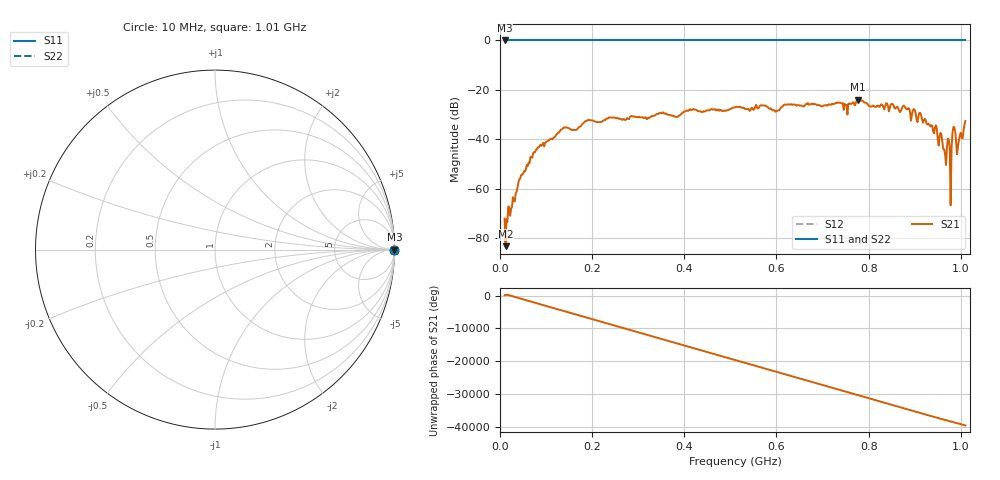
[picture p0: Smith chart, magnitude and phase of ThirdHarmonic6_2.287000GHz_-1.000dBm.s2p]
! 8/17/2025 3:00:38 AM
! C:\ANRITSUVNA\TEMP\TEMP.S2P
! CHANNEL.1
! TR.MEASUREMENT
! RAW.DATA
! RF.CORRECTION.OFF
! AVERAGING.OFF
! IF.BANDWIDTH: 5KHZ
! SWEEPTYPE:  FREQ.SWEEP(Linear)
! Reference Plane Port Info
! PORT:  PORT1  PORT2
! DISTANCE:  0  m  0  m
! TIME:  0  s  0  s
! PHASE.OFFSET:  0  deg.  0  deg.
! LOSS:  0  dB  0  dB
! REF.LOSS:  0  dB  0  dB
! REF.FREQ:  0  Hz  0  Hz
! Power Info
! POWER:  -20  dBm  -20  dBm
! EFF.POWER:  -20  dBm  -20  dBm
! SOURCE.ATTEN:  0  dB  0  dB
! TEST.ATTEN:  0  dB  0  dB
# GHZ S RI R 50.0
! FREQ.GHZ  S11RE  S11IM  S21RE  S21IM  S12RE  S12IM  S22RE  S22IM
!; PortSelection: Port_12
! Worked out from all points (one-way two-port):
!   501 points, 10 MHz to 1.01 GHz, reference 50 ohm
!   highest |S21| = -24.00 dB at 776 MHz (marker M1); lowest = -83.2 dB at 12 MHz (marker M2)
!   lowest |S11| = 0.0 dB at 10 MHz (marker M3)
!   |S11| at or under -10 dB: nowhere
!   |S22| runs from 0.0 to 0.0 dB; largest |S21 - S12| = 1.1
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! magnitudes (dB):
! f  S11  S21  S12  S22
! 10 MHz  0.0  -72.0  0.0  0.0
! 12 MHz  0.0  -83.2  0.0  0.0
! 44 MHz  0.0  -55.8  0.0  0.0
! 76 MHz  0.0  -45.2  0.0  0.0
! 136 MHz  0.0  -35.7  0.0  0.0
! 178 MHz  0.0  -33.9  0.0  0.0
! 344 MHz  0.0  -29.7  0.0  0.0
! 510 MHz  0.0  -27.1  0.0  0.0
! 678 MHz  0.0  -25.6  0.0  0.0
! 750 MHz  0.0  -26.1  0.0  0.0
! 776 MHz  0.0  -24.0  0.0  0.0
! 844 MHz  0.0  -28.7  0.0  0.0
! 912 MHz  0.0  -29.3  0.0  0.0
! 944 MHz  0.0  -35.1  0.0  0.0
! 958 MHz  0.0  -38.1  0.0  0.0
! 964 MHz  0.0  -44.1  0.0  0.0
! 972 MHz  0.0  -39.7  0.0  0.0
! 976 MHz  0.0  -43.5  0.0  0.0
! 982 MHz  0.0  -37.4  0.0  0.0
! 984 MHz  0.0  -34.9  0.0  0.0
! 994 MHz  0.0  -42.7  0.0  0.0
! 1.01 GHz  0.0  -32.6  0.0  0.0
